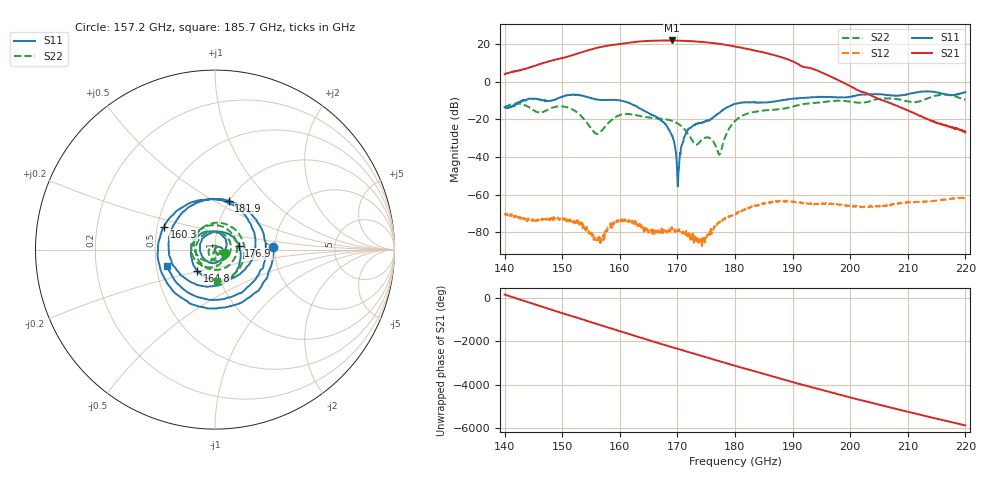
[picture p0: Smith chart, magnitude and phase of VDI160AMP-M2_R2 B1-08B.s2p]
!Keysight Technologies,N5242B,MY60213711,A.18.40.03
!Date: Thursday, March 26, 2026 01:24:15
!Correction: S11(C  2-Port  )
!S21(C  2-Port  )
!S12(C  2-Port  )
!S22(C  2-Port  )
!S2P File: Measurements: S11, S21, S12, S22:
# Hz S  RI  R 50
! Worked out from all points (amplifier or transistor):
!   1201 points, 140 GHz to 220 GHz, reference 50 ohm
!   highest |S21| = 21.9 dB at 169 GHz (marker M1)
!   |S21| within 3 dB of that: 157.5 GHz to 179.6 GHz (22.08 GHz wide, 13.1 % of centre)
!   unconditionally stable (mu >= 1): start of sweep to end of sweep
!   at 153.3 GHz: K = 399.85, MAG = 16.5 dB, |S12| = -75.5 dB
!   at 180 GHz: K = 174.90, MAG = 19.0 dB, |S12| = -70.2 dB
!   at 220 GHz: K = 8619.47, MAG = -25.0 dB, |S12| = -61.6 dB
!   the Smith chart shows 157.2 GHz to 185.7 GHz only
!   S11 on the Smith chart (normalised r, x): 157.2 GHz: 1.95, +0.06; 160.3 GHz: 0.54, +0.15; 164.8 GHz: 0.80, -0.19; 176.9 GHz: 1.30, +0.05; 181.9 GHz: 0.99, +0.59; 185.7 GHz: 0.57, -0.11
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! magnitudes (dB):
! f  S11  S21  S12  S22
! 140 GHz  -13.6  3.9  -69.7  -13.7
! 150.1 GHz  -8.0  12.6  -73.2  -13.2
! 153.4 GHz  -7.3  15.6  -75.9  -18.6
! 155.8 GHz  -9.4  17.8  -82.9  -27.5
! 157.2 GHz  -9.8  18.7  -83.9  -24.8
! 160.3 GHz  -10.2  20.1  -74.0  -17.4
! 164.8 GHz  -16.3  21.6  -78.2  -18.9
! 166.7 GHz  -19.6  21.8  -80.1  -19.4
! 169 GHz  -28.4  21.9  -77.2  -20.7
! 170.1 GHz  -52.3  21.8  -78.9  -22.4
! 171 GHz  -32.0  21.7  -79.5  -24.5
! 171.8 GHz  -25.6  21.6  -82.1  -27.5
! 173.2 GHz  -22.4  21.3  -82.6  -33.3
! 175.6 GHz  -20.3  20.7  -81.4  -29.9
! 176.9 GHz  -17.5  20.2  -75.8  -36.0
! 177.5 GHz  -16.1  20.0  -74.8  -37.9
! 180 GHz  -11.8  18.6  -70.2  -20.9
! 181.9 GHz  -11.0  17.4  -67.4  -17.2
! 185.7 GHz  -10.9  14.9  -64.2  -15.1
! 193.4 GHz  -8.3  6.9  -65.0  -11.4
! 206.7 GHz  -7.1  -11.1  -65.9  -8.9
! 220 GHz  -5.6  -27.0  -61.6  -9.5
